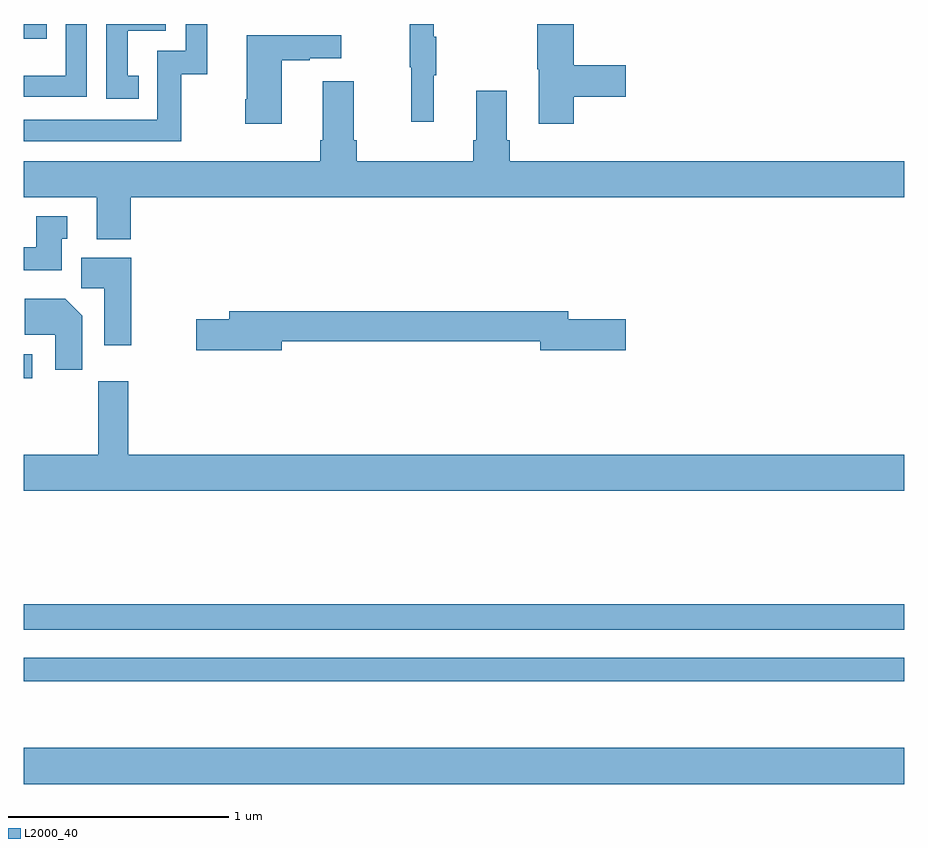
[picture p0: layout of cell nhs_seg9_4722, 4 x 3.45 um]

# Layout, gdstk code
import gdstk
lib = gdstk.Library(unit=1e-6, precision=1e-09)
def R(c, l, rs):  # rectangles x0, y0, x1, y1
    for r in rs: c.add(gdstk.rectangle(r[:2], r[2:], *l))
def P(c, l, *ps):  # polygons
    for p in ps: c.add(gdstk.Polygon(p, *l))
L2000_40 = (2000, 40)

nhs_seg9_4722 = lib.new_cell('nhs_seg9_4722')
R(nhs_seg9_4722, L2000_40, [(383,1235.048,387,1235.212), (383,1235.514,387,1235.622), (383,1235.748,387,1235.864), (383,1236.891,383.038,1236.999), (383,1238.433,383.105,1238.5)])
P(nhs_seg9_4722, L2000_40, [(384.863,1238.267),(384.874,1238.267),(384.874,1238.441),(384.863,1238.441),(384.863,1238.5),(384.753,1238.5),(384.753,1238.304),(384.76,1238.304),(384.76,1238.055),(384.863,1238.055)],
  [(383.716,1238.271),(383.834,1238.271),(383.834,1238.5),(383.736,1238.5),(383.736,1238.379),(383.607,1238.379),(383.607,1238.064),(383,1238.064),(383,1237.968),(383.716,1237.968)],
  [(385.499,1238.17),(385.735,1238.17),(385.735,1238.312),(385.499,1238.312),(385.499,1238.5),(385.333,1238.5),(385.333,1238.295),(385.34,1238.295),(385.34,1238.046),(385.499,1238.046)],
  [(383.522,1238.265),(383.473,1238.265),(383.473,1238.469),(383.646,1238.469),(383.646,1238.5),(383.376,1238.5),(383.376,1238.16),(383.522,1238.16)],
  [(383.286,1238.5),(383.19,1238.5),(383.19,1238.266),(383,1238.266),(383,1238.169),(383.286,1238.169)],
  [(384.172,1238.335),(384.299,1238.335),(384.299,1238.345),(384.442,1238.345),(384.442,1238.449),(384.014,1238.449),(384.014,1238.158),(384.007,1238.158),(384.007,1238.046),(384.172,1238.046)],
  [(383.486,1237.712),(387,1237.712),(387,1237.876),(385.208,1237.876),(385.208,1237.972),(385.195,1237.972),(385.195,1238.197),(385.055,1238.197),(385.055,1237.972),(385.043,1237.972),(385.043,1237.876),(384.512,1237.876),(384.512,1237.972),(384.499,1237.972),(384.499,1238.239),(384.359,1238.239),(384.359,1237.972),(384.347,1237.972),(384.347,1237.876),(383,1237.876),(383,1237.712),(383.333,1237.712),(383.333,1237.523),(383.486,1237.523)],
  [(383.173,1237.524),(383.197,1237.524),(383.197,1237.627),(383.057,1237.627),(383.057,1237.486),(383,1237.486),(383,1237.382),(383.173,1237.382)],
  [(383.488,1237.438),(383.261,1237.438),(383.261,1237.3),(383.366,1237.3),(383.366,1237.041),(383.488,1237.041)],
  [(383.266,1237.174),(383.188,1237.252),(383.005,1237.252),(383.005,1237.088),(383.144,1237.088),(383.144,1236.93),(383.266,1236.93)],
  [(384.172,1237.06),(385.346,1237.06),(385.346,1237.018),(385.735,1237.018),(385.735,1237.16),(385.474,1237.16),(385.474,1237.196),(383.933,1237.196),(383.933,1237.16),(383.784,1237.16),(383.784,1237.018),(384.172,1237.018)],
  [(387,1236.544),(383.474,1236.544),(383.474,1236.877),(383.338,1236.877),(383.338,1236.544),(383,1236.544),(383,1236.38),(387,1236.38)])

lib.write_gds('nhs_seg9_4722.gds')
